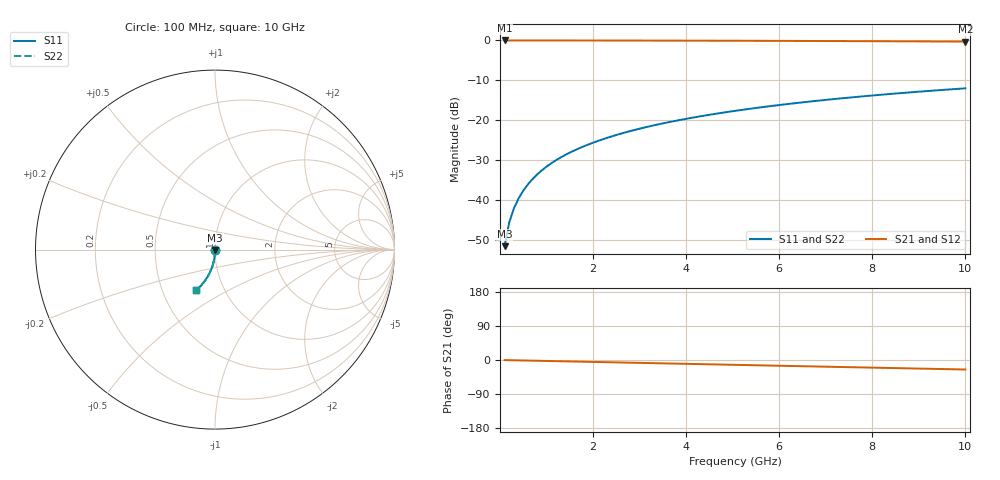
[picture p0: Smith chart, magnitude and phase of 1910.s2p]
# Hz S RI R 50.00
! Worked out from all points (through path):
!   100 points, 100 MHz to 10 GHz, reference 50 ohm
!   highest |S21| = 0.00 dB at 100 MHz (marker M1); lowest = -0.3 dB at 10 GHz (marker M2)
!   group delay of S21, straight-line fit = 6.98 ps
!   lowest |S11| = -51.6 dB at 100 MHz (marker M3), VSWR 1.01, Z = 50 - j0.261 ohm
!   |S11| at or under -10 dB: start of sweep to end of sweep
!   |S22| runs from -51.6 to -12.0 dB; largest |S21 - S12| = 0
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1e8  0.000305 -0.00261  0.9997 -0.00441  0.9997 -0.00441  0.000305 -0.00261
2e8  0.000269 -0.00522  0.9996 -0.00882  0.9996 -0.00882  0.000269 -0.00522
3e8  0.000209 -0.00783  0.9995 -0.0132  0.9995 -0.0132  0.000209 -0.00783
4e8  0.000127 -0.0104  0.9995 -0.0176  0.9995 -0.0176  0.000127 -0.0104
5e8  2.08e-05 -0.0131  0.9993 -0.0221  0.9993 -0.0221  2.08e-05 -0.0131
6e8  -0.000108 -0.0157  0.9992 -0.0265  0.9992 -0.0265  -0.000108 -0.0157
7e8  -0.00026 -0.0183  0.999 -0.0309  0.999 -0.0309  -0.00026 -0.0183
8e8  -0.000436 -0.0209  0.9988 -0.0353  0.9988 -0.0353  -0.000436 -0.0209
9e8  -0.000634 -0.0235  0.9986 -0.0397  0.9986 -0.0397  -0.000634 -0.0235
1.1e9  -0.0011 -0.0287  0.998 -0.0485  0.998 -0.0485  -0.0011 -0.0287
1.4e9  -0.00197 -0.0365  0.997 -0.0617  0.997 -0.0617  -0.00197 -0.0365
1.8e9  -0.00346 -0.0468  0.9953 -0.0793  0.9953 -0.0793  -0.00346 -0.0468
2.1e9  -0.00481 -0.0546  0.9938 -0.0924  0.9938 -0.0924  -0.00481 -0.0546
2.5e9  -0.00693 -0.0648  0.9914 -0.1099  0.9914 -0.1099  -0.00693 -0.0648
2.9e9  -0.00941 -0.075  0.9885 -0.1273  0.9885 -0.1273  -0.00941 -0.075
3.4e9  -0.013 -0.0876  0.9844 -0.1489  0.9844 -0.1489  -0.013 -0.0876
4.2e9  -0.0199 -0.1073  0.9765 -0.1832  0.9765 -0.1832  -0.0199 -0.1073
5.1e9  -0.0293 -0.1288  0.9657 -0.2211  0.9657 -0.2211  -0.0293 -0.1288
5.9e9  -0.039 -0.1472  0.9545 -0.2541  0.9545 -0.2541  -0.039 -0.1472
6.7e9  -0.05 -0.1648  0.9419 -0.2864  0.9419 -0.2864  -0.05 -0.1648
8.4e9  -0.0769 -0.1992  0.9106 -0.3521  0.9106 -0.3521  -0.0769 -0.1992
1e10  -0.1062 -0.2272  0.8762 -0.4099  0.8762 -0.4099  -0.1062 -0.2272
